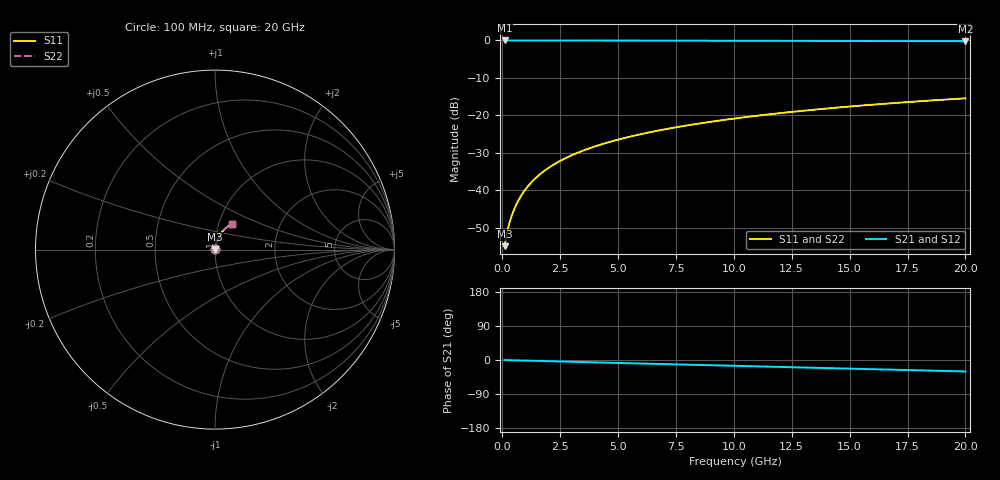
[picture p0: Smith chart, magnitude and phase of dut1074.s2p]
! Touchstone file exported from HFSS 2026.1.0
!  File:  C:/ffzhzh/LocalFiles/Ansys_Project_Files/temp_train_TMRDL_1074_1783160779_43440.aedt
!  Generated:  06:27:36 PM Jul  4, 2026
!  Design:  TMRDL
!  Project:  temp_train_TMRDL_1074_1783160779_43440
! Variables:
!  h_bsmrdl = 2um
!  h_ox = 20um
!  h_rdl = 5um
!  h_sub = 80um
!  h_tmrdl = 5.58um
!  h_tsv = 80um
!  h_via = 3um
!  l_bsmrdl = 300um
!  l_sub = 890.69um
!  l_tmrdl = 490.69um
!  m_sub = 200um
!  pitch = 43.69um
!  r_tsv = 6um
!  s_tmrdl = 10um
!  w_bsmrdl = 18um
!  w_sub = 500um
!  w_tmrdl = 28.62um
!  x_tsv_center1 = 505um
!  x_tsv_center2 = 823um
!  x_tsv_center3 = 1342.31um
!  x_tsv_center4 = 1660.31um
!  x_tsv_center5 = 2179.62um
!  x_tsv_center6 = 2497.62um
# GHz S MA R 50.000000
! Terminal data exported
! Port[1] = TM_RDL1_1_T1
! Port[2] = TM_RDL1_1_T2
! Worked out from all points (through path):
!   200 points, 100 MHz to 20 GHz, reference 50 ohm
!   highest |S21| = -0.01 dB at 100 MHz (marker M1); lowest = -0.2 dB at 20 GHz (marker M2)
!   group delay of S21, straight-line fit = 4.19 ps
!   lowest |S11| = -55.0 dB at 100 MHz (marker M3), VSWR 1.00, Z = 50.1 + j0.121 ohm
!   |S11| at or under -10 dB: start of sweep to end of sweep
!   |S22| runs from -55.0 to -15.5 dB; largest |S21 - S12| = 3.9e-15
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0.1  0.001787 42.3  0.9987 -0.2  0.9987 -0.2  0.001787 42.3
! Gamma 0 0 0 0
! Port Impedance 50 0 50 0
0.2  0.002685 56.3  0.9985 -0.3  0.9985 -0.3  0.002685 56.3
0.3  0.003582 63.5  0.9984 -0.5  0.9984 -0.5  0.003582 63.5
0.4  0.004496 68.0  0.9984 -0.6  0.9984 -0.6  0.004496 68.0
0.5  0.005429 71.2  0.9983 -0.8  0.9983 -0.8  0.005429 71.2
0.6  0.006377 73.4  0.9983 -1.0  0.9983 -1.0  0.006377 73.4
0.8  0.008301 76.2  0.9982 -1.3  0.9982 -1.3  0.008301 76.2
1.1  0.01121 78.3  0.998 -1.7  0.998 -1.7  0.01121 78.3
1.3  0.01316 79.0  0.9979 -2.1  0.9979 -2.1  0.01316 79.1
1.5  0.01509 79.5  0.9977 -2.4  0.9977 -2.4  0.01509 79.5
1.8  0.01798 79.7  0.9975 -2.8  0.9975 -2.8  0.01798 79.7
2.1  0.02085 79.8  0.9973 -3.3  0.9973 -3.3  0.02085 79.8
2.7  0.02649 79.4  0.9967 -4.3  0.9967 -4.3  0.02649 79.4
3.5  0.03386 78.7  0.996 -5.5  0.996 -5.5  0.03386 78.7
4.2  0.04019 77.9  0.9953 -6.6  0.9953 -6.6  0.04019 77.9
5  0.04732 77.0  0.9946 -7.8  0.9946 -7.8  0.04732 77.0
6.8  0.06308 74.8  0.9929 -10.5  0.9929 -10.5  0.06308 74.8
8.3  0.07598 72.9  0.9914 -12.8  0.9914 -12.8  0.07598 72.9
10.1  0.09118 70.5  0.9895 -15.5  0.9895 -15.5  0.09118 70.5
13.4  0.1182 66.0  0.9857 -20.5  0.9857 -20.5  0.1182 66.0
16.7  0.144 61.5  0.9815 -25.4  0.9815 -25.4  0.144 61.5
20  0.1685 56.9  0.977 -30.2  0.977 -30.2  0.1685 56.9
